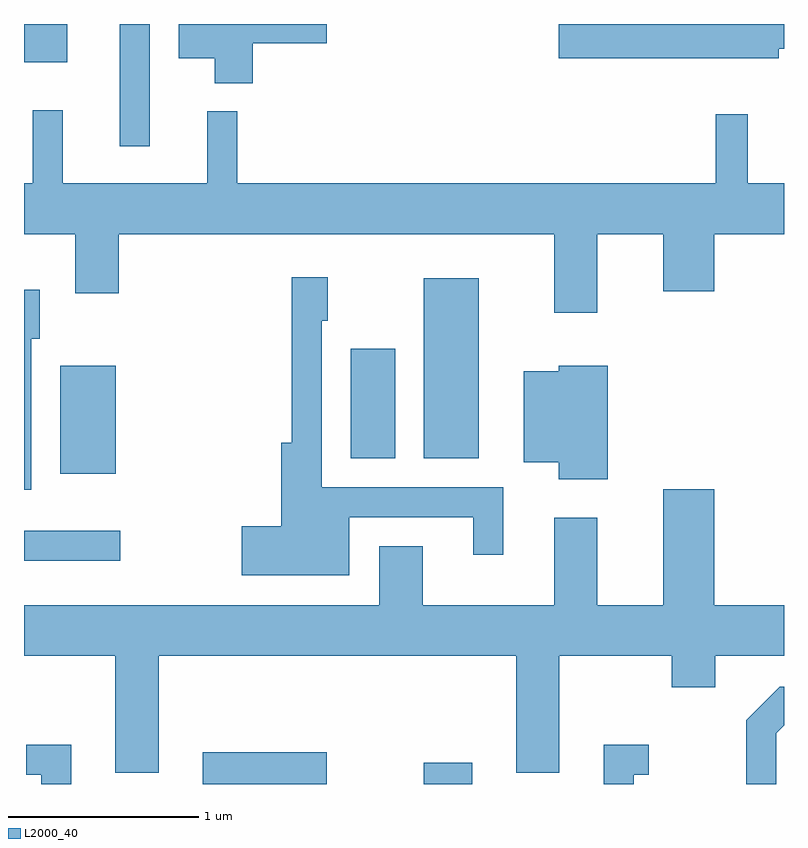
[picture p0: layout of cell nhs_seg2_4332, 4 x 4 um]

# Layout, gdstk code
import gdstk
lib = gdstk.Library(unit=1e-6, precision=1e-09)
def R(c, l, rs):  # rectangles x0, y0, x1, y1
    for r in rs: c.add(gdstk.rectangle(r[:2], r[2:], *l))
def P(c, l, *ps):  # polygons
    for p in ps: c.add(gdstk.Polygon(p, *l))
L2000_40 = (2000, 40)

nhs_seg2_4332 = lib.new_cell('nhs_seg2_4332')
R(nhs_seg2_4332, L2000_40, [(312.551,1109.802,313.204,1109.969), (313.716,1109.802,313.969,1109.914), (311.611,1110.976,312.118,1111.134), (311.801,1111.436,312.094,1112.004), (313.331,1111.516,313.564,1112.094), (313.716,1111.516,314.004,1112.464), (312.116,1113.158,312.274,1113.802), (311.611,1113.601,311.839,1113.802)])
P(nhs_seg2_4332, L2000_40, [(315.584,1113.671),(315.611,1113.671),(315.611,1113.802),(314.426,1113.802),(314.426,1113.621),(315.584,1113.621)],
  [(312.814,1113.701),(313.204,1113.701),(313.204,1113.802),(312.426,1113.802),(312.426,1113.621),(312.616,1113.621),(312.616,1113.491),(312.814,1113.491)],
  [(314.629,1112.696),(314.976,1112.696),(314.976,1112.396),(315.244,1112.396),(315.244,1112.696),(315.611,1112.696),(315.611,1112.964),(315.419,1112.964),(315.419,1113.328),(315.251,1113.328),(315.251,1112.964),(312.734,1112.964),(312.734,1113.343),(312.576,1113.343),(312.576,1112.964),(311.814,1112.964),(311.814,1113.348),(311.656,1113.348),(311.656,1112.964),(311.611,1112.964),(311.611,1112.696),(311.881,1112.696),(311.881,1112.386),(312.109,1112.386),(312.109,1112.696),(314.401,1112.696),(314.401,1112.281),(314.629,1112.281)],
  [(313.324,1111.206),(313.976,1111.206),(313.976,1111.008),(314.134,1111.008),(314.134,1111.364),(313.179,1111.364),(313.179,1112.241),(313.209,1112.241),(313.209,1112.469),(313.021,1112.469),(313.021,1111.599),(312.966,1111.599),(312.966,1111.159),(312.756,1111.159),(312.756,1110.901),(313.324,1110.901)],
  [(311.649,1112.146),(311.694,1112.146),(311.694,1112.404),(311.611,1112.404),(311.611,1111.351),(311.649,1111.351)],
  [(314.684,1112.004),(314.426,1112.004),(314.426,1111.974),(314.241,1111.974),(314.241,1111.496),(314.426,1111.496),(314.426,1111.406),(314.684,1111.406)],
  [(312.319,1110.476),(314.201,1110.476),(314.201,1109.861),(314.429,1109.861),(314.429,1110.476),(315.021,1110.476),(315.021,1110.311),(315.249,1110.311),(315.249,1110.476),(315.611,1110.476),(315.611,1110.744),(315.244,1110.744),(315.244,1111.354),(314.976,1111.354),(314.976,1110.744),(314.629,1110.744),(314.629,1111.204),(314.401,1111.204),(314.401,1110.744),(313.709,1110.744),(313.709,1111.054),(313.481,1111.054),(313.481,1110.744),(311.611,1110.744),(311.611,1110.476),(312.091,1110.476),(312.091,1109.861),(312.319,1109.861)],
  [(315.569,1110.069),(315.611,1110.111),(315.611,1110.314),(315.589,1110.314),(315.411,1110.137),(315.411,1109.802),(315.569,1109.802)],
  [(314.819,1109.851),(314.898,1109.851),(314.898,1110.009),(314.661,1110.009),(314.661,1109.802),(314.819,1109.802)],
  [(311.859,1110.009),(311.623,1110.009),(311.623,1109.851),(311.701,1109.851),(311.701,1109.802),(311.859,1109.802)])

lib.write_gds('nhs_seg2_4332.gds')
